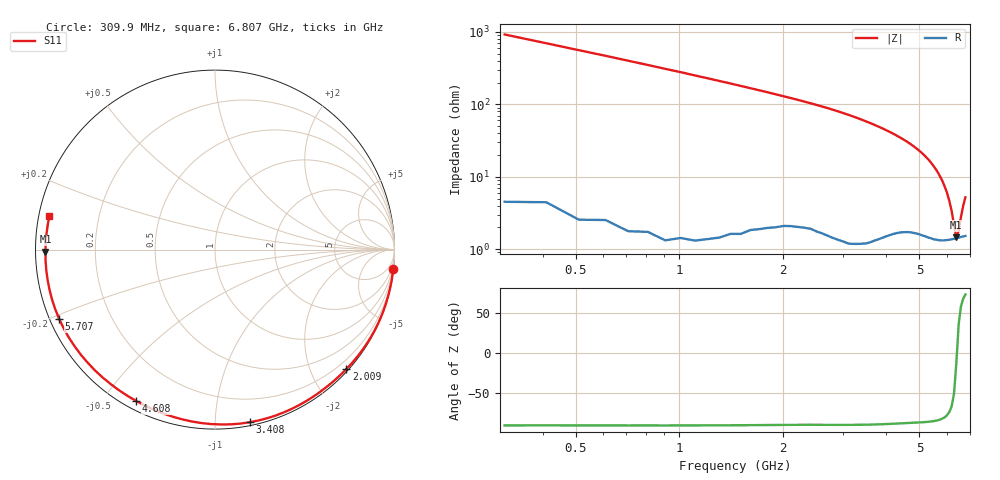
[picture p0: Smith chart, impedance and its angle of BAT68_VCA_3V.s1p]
! Infineon Technologies  Discrete & RF Semiconductors
! BAT68
! VCA = 3 V
! One-Port S-Parameters
# Hz  S  MA  R  50
!f  S11
!Hz  Mag  Ang
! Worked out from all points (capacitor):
!   66 points, 309.9 MHz to 6.807 GHz, reference 50 ohm
!   read as one part to ground: C = 555 fF near 309.9 MHz
!   lowest |Z| = 1.45 ohm at 6.407 GHz (marker M1)
!   series resonance near 6.429 GHz, so ESL is about 1.1 nH
!   S11 on the Smith chart (normalised r, x): 309.9 MHz: 0, -18; 2.009 GHz: 0.04, -2.59; 3.408 GHz: 0.02, -1.22; 4.608 GHz: 0.03, -0.61; 5.707 GHz: 0.03, -0.21; 6.807 GHz: 0.03, +0.10
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3.0985e8  0.9995 -6.2
5.0975e8  0.9992 -10.2
8.096e8  0.9986 -16.3
1.2094e9  0.9975 -24.7
1.6092e9  0.994 -33.3
2.009e9  0.9892 -42.2
2.30885e9  0.9864 -49.2
2.50875e9  0.9856 -54.0
2.8086e9  0.9852 -61.7
3.10845e9  0.9845 -69.9
3.4083e9  0.981 -78.7
3.6082e9  0.9775 -84.8
3.8081e9  0.9724 -91.2
4.008e9  0.9665 -97.6
4.2079e9  0.9603 -104.1
4.4078e9  0.9548 -110.8
4.6077e9  0.9509 -117.5
4.90755e9  0.9482 -127.8
5.10745e9  0.9487 -134.8
5.2074e9  0.9488 -138.3
5.50725e9  0.9505 -149.0
5.70715e9  0.9505 -156.1
5.90705e9  0.9495 -163.0
6.007e9  0.9487 -166.3
6.2069e9  0.9469 -172.9
6.4068e9  0.9448 -179.3
6.6067e9  0.9428 174.6
6.8066e9  0.9414 168.7
